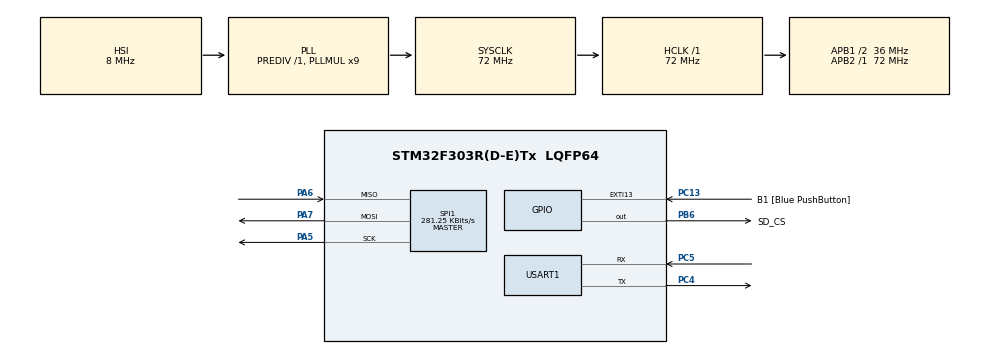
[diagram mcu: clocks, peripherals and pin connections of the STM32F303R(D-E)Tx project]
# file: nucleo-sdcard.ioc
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Mcu.Family=STM32F3
Mcu.Name=STM32F303R(D-E)Tx
Mcu.Package=LQFP64
NVIC.PriorityGroup=NVIC_PRIORITYGROUP_0
PA13.GPIO_Label=TMS
PA13.Mode=Serial_Wire
PA13.Signal=SYS_JTMS-SWDIO
PA14.GPIO_Label=TCK
PA14.Mode=Serial_Wire
PA14.Signal=SYS_JTCK-SWCLK
PA2.GPIO_Label=USART_TX
PA2.GPIO_Mode=GPIO_MODE_AF_PP
PA2.GPIO_PuPd=GPIO_NOPULL
PA2.GPIO_Speed=GPIO_SPEED_FREQ_LOW
PA2.Signal=USART2_TX
PA3.GPIO_Label=USART_RX
PA3.GPIO_Mode=GPIO_MODE_AF_PP
PA3.GPIO_PuPd=GPIO_NOPULL
PA3.GPIO_Speed=GPIO_SPEED_FREQ_LOW
PA3.Signal=USART2_RX
PA5.Mode=Full_Duplex_Master
PA5.Signal=SPI1_SCK
PA6.Mode=Full_Duplex_Master
PA6.Signal=SPI1_MISO
PA7.Mode=Full_Duplex_Master
PA7.Signal=SPI1_MOSI
PB3.GPIO_Label=SWO
PB3.Signal=SYS_JTDO-TRACESWO
PB6.GPIO_Label=SD_CS
PB6.Signal=GPIO_Output
PC13.GPIO_Label=B1 [Blue PushButton]
PC13.GPIO_ModeDefaultEXTI=GPIO_MODE_IT_FALLING
PC13.Signal=GPXTI13
PC14-OSC32_IN.Signal=RCC_OSC32_IN
PC15-OSC32_OUT.Signal=RCC_OSC32_OUT
PC4.Mode=Asynchronous
PC4.Signal=USART1_TX
PC5.Mode=Asynchronous
PC5.Signal=USART1_RX
PF0-OSC_IN.Signal=RCC_OSC_IN
PF1-OSC_OUT.Signal=RCC_OSC_OUT
ProjectManager.HeapSize=0x200
ProjectManager.StackSize=0x400
ProjectManager.TargetToolchain=Makefile
RCC.AHBFreq_Value=72000000
RCC.APB1CLKDivider=RCC_HCLK_DIV2
RCC.APB1Freq_Value=36000000
RCC.APB1TimFreq_Value=72000000
RCC.APB2Freq_Value=72000000
RCC.APB2TimFreq_Value=72000000
RCC.CortexFreq_Value=72000000
RCC.HCLKFreq_Value=72000000
RCC.HSE_VALUE=8000000
RCC.HSI_VALUE=8000000
RCC.LSE_VALUE=32768
RCC.PLLM=8
RCC.PLLMUL=RCC_PLL_MUL9
RCC.PLLN=336
RCC.PLLP=RCC_PLLP_DIV4
RCC.PLLQ=7
RCC.RCC_PLLsource_Clock_Source_FROM_HSE=RCC_HSE_PREDIV_DIV2
RCC.SYSCLKFreq_VALUE=72000000
RCC.SYSCLKSourceVirtual=RCC_SYSCLKSOURCE_PLLCLK
RCC.USBFreq_Value=72000000
SPI1.BaudRatePrescaler=SPI_BAUDRATEPRESCALER_256
SPI1.CalculateBaudRate=281.25 KBits/s
SPI1.DataSize=SPI_DATASIZE_8BIT
SPI1.Direction=SPI_DIRECTION_2LINES
SPI1.Mode=SPI_MODE_MASTER
SPI1.VirtualType=VM_MASTER
USART1.VirtualMode-Asynchronous=VM_ASYNC
USART1.WordLength=WORDLENGTH_8B
VP_FATFS_VS_Generic.Mode=User_defined
VP_RTC_VS_RTC_Activate.Mode=RTC_Enabled
board=NUCLEO-F303RE

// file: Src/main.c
/**
  ******************************************************************************
  * File Name          : main.c
  * Description        : Main program body
  ******************************************************************************
  * This notice applies to any and all portions of this file
  * that are not between comment pairs USER CODE BEGIN and
  * USER CODE END. Other portions of this file, whether
  * inserted by the user or by software development tools
  * are owned by their respective copyright owners.
  *
  * Copyright (c) 2017 STMicroelectronics International N.V.
  * All rights reserved.
  *
  * Redistribution and use in source and binary forms, with or without
  * modification, are permitted, provided that the following conditions are met:
  *
  * 1. Redistribution of source code must retain the above copyright notice,
  *    this list of conditions and the following disclaimer.
  * 2. Redistributions in binary form must reproduce the above copyright notice,
  *    this list of conditions and the following disclaimer in the documentation
  *    and/or other materials provided with the distribution.
  * 3. Neither the name of STMicroelectronics nor the names of other
  *    contributors to this software may be used to endorse or promote products
  *    derived from this software without specific written permission.
  * 4. This software, including modifications and/or derivative works of this
  *    software, must execute solely and exclusively on microcontroller or
  *    microprocessor devices manufactured by or for STMicroelectronics.
  * 5. Redistribution and use of this software other than as permitted under
  *    this license is void and will automatically terminate your rights under
  *    this license.
  *
  * THIS SOFTWARE IS PROVIDED BY STMICROELECTRONICS AND CONTRIBUTORS "AS IS"
  * AND ANY EXPRESS, IMPLIED OR STATUTORY WARRANTIES, INCLUDING, BUT NOT
  * LIMITED TO, THE IMPLIED WARRANTIES OF MERCHANTABILITY, FITNESS FOR A
  * PARTICULAR PURPOSE AND NON-INFRINGEMENT OF THIRD PARTY INTELLECTUAL PROPERTY
  * RIGHTS ARE DISCLAIMED TO THE FULLEST EXTENT PERMITTED BY LAW. IN NO EVENT
  * SHALL STMICROELECTRONICS OR CONTRIBUTORS BE LIABLE FOR ANY DIRECT, INDIRECT,
  * INCIDENTAL, SPECIAL, EXEMPLARY, OR CONSEQUENTIAL DAMAGES (INCLUDING, BUT NOT
  * LIMITED TO, PROCUREMENT OF SUBSTITUTE GOODS OR SERVICES; LOSS OF USE, DATA,
  * OR PROFITS; OR BUSINESS INTERRUPTION) HOWEVER CAUSED AND ON ANY THEORY OF
  * LIABILITY, WHETHER IN CONTRACT, STRICT LIABILITY, OR TORT (INCLUDING
  * NEGLIGENCE OR OTHERWISE) ARISING IN ANY WAY OUT OF THE USE OF THIS SOFTWARE,
  * EVEN IF ADVISED OF THE POSSIBILITY OF SUCH DAMAGE.
  *
  ******************************************************************************
  */
#include "main.h"
#include "stm32f3xx_hal.h"
#include "fatfs.h"

/* USER CODE BEGIN Includes */
#include <stdio.h>
#include <string.h>
#include <stdarg.h> //for va_list var arg functions

/* USER CODE END Includes */

RTC_HandleTypeDef hrtc;

SPI_HandleTypeDef hspi1;

UART_HandleTypeDef huart1;

/* USER CODE BEGIN PV */
/* Private variables ---------------------------------------------------------*/
char buffer[100];

/* USER CODE END PV */

void SystemClock_Config(void);
static void MX_GPIO_Init(void);
static void MX_RTC_Init(void);
static void MX_USART1_UART_Init(void);
static void MX_SPI1_Init(void);

/* USER CODE BEGIN PFP */
/* Private function prototypes -----------------------------------------------*/
void myprintf(const char *fmt, ...);
/* USER CODE END PFP */

int main(void)
{

  /* USER CODE BEGIN 1 */
  //Fatfs object
  FATFS FatFs;
  //File object
  FIL fil;
  /* USER CODE END 1 */

  /* MCU Configuration----------------------------------------------------------*/

  /* Reset of all peripherals, Initializes the Flash interface and the Systick. */
  HAL_Init();

  /* Configure the system clock */
  SystemClock_Config();

  /* Initialize all configured peripherals */
  MX_GPIO_Init();
  MX_RTC_Init();
  MX_USART1_UART_Init();
  MX_SPI1_Init();
  MX_FATFS_Init();

  /* USER CODE BEGIN 2 */
  myprintf("\r\n\r\n(Powering up)\r\nMary had a little lamb --\r\nI ate it with mint sauce.\r\n\r\n");
  HAL_Delay(1000);
  FRESULT fres;
  /* USER CODE END 2 */

  /* Infinite loop */
  while (1)
  {

  /* USER CODE BEGIN 3 */

    //Mount drive
    fres = f_mount(&FatFs, "", 1); //1=mount now
    if (fres != FR_OK) {
      myprintf("f_mount error (%i)\r\n", fres);
      while(1);
    }

    DWORD free_clusters, free_sectors, total_sectors;

    FATFS* getFreeFs;

    fres = f_getfree("", &free_clusters, &getFreeFs);
    if (fres != FR_OK) {
      myprintf("f_getfree error (%i)\r\n", fres);
      while(1);
    }

    total_sectors = (getFreeFs->n_fatent - 2) * getFreeFs->csize;
    free_sectors = free_clusters * getFreeFs->csize;

    myprintf("SD card stats:\r\n%10lu KiB total drive space.\r\n%10lu KiB available.\r\n", total_sectors / 2, free_sectors / 2);

    //Try to open file
    fres = f_open(&fil, "test.txt", FA_READ);
    if (fres != FR_OK) {
      myprintf("f_open error (%i)\r\n");
      while(1);
    }
    myprintf("I was able to open 'test.txt' for reading!\r\n");

    BYTE readBuf[30];

    //We can either use f_read OR f_gets to get data out of files
    //f_gets is a wrapper on f_read that does some string formatting for us
    TCHAR* rres = f_gets((TCHAR*)readBuf, 30, &fil);
    if(rres != 0) {
      myprintf("Read string from 'test.txt' contents: %s\r\n", readBuf);
    } else {
      myprintf("f_gets error (%i)\r\n", fres);
    }

    //Close file, don't forget this!
    f_close(&fil);

    fres = f_open(&fil, "write.txt", FA_WRITE | FA_OPEN_ALWAYS | FA_CREATE_ALWAYS);
    if(fres == FR_OK) {
      myprintf("I was able to open 'write.txt' for writing\r\n");
    } else {
      myprintf("f_open error (%i)\r\n", fres);
    }

    strncpy((char*)readBuf, "a new file is made!", 19);
    UINT bytesWrote;
    fres = f_write(&fil, readBuf, 19, &bytesWrote);
    if(fres == FR_OK) {
      myprintf("Wrote %i bytes to 'write.txt'!\r\n", bytesWrote);
    } else {
      myprintf("f_write error (%i)\r\n");
    }

    //Close file, don't forget this!
    f_close(&fil);

    //De-mount drive
    f_mount(NULL, "", 0);

    while(1);
  }
  /* USER CODE END 3 */

}

/** System Clock Configuration
*/
void SystemClock_Config(void)
{

  RCC_OscInitTypeDef RCC_OscInitStruct;
  RCC_ClkInitTypeDef RCC_ClkInitStruct;
  RCC_PeriphCLKInitTypeDef PeriphClkInit;

    /**Initializes the CPU, AHB and APB busses clocks
    */
  RCC_OscInitStruct.OscillatorType = RCC_OSCILLATORTYPE_HSI|RCC_OSCILLATORTYPE_LSI;
  RCC_OscInitStruct.HSIState = RCC_HSI_ON;
  RCC_OscInitStruct.HSICalibrationValue = 16;
  RCC_OscInitStruct.LSIState = RCC_LSI_ON;
  RCC_OscInitStruct.PLL.PLLState = RCC_PLL_ON;
  RCC_OscInitStruct.PLL.PLLSource = RCC_PLLSOURCE_HSI;
  RCC_OscInitStruct.PLL.PLLMUL = RCC_PLL_MUL9;
  RCC_OscInitStruct.PLL.PREDIV = RCC_PREDIV_DIV1;
  if (HAL_RCC_OscConfig(&RCC_OscInitStruct) != HAL_OK)
  {
    _Error_Handler(__FILE__, __LINE__);
  }

    /**Initializes the CPU, AHB and APB busses clocks
    */
  RCC_ClkInitStruct.ClockType = RCC_CLOCKTYPE_HCLK|RCC_CLOCKTYPE_SYSCLK
                              |RCC_CLOCKTYPE_PCLK1|RCC_CLOCKTYPE_PCLK2;
  RCC_ClkInitStruct.SYSCLKSource = RCC_SYSCLKSOURCE_PLLCLK;
  RCC_ClkInitStruct.AHBCLKDivider = RCC_SYSCLK_DIV1;
  RCC_ClkInitStruct.APB1CLKDivider = RCC_HCLK_DIV2;
  RCC_ClkInitStruct.APB2CLKDivider = RCC_HCLK_DIV1;

  if (HAL_RCC_ClockConfig(&RCC_ClkInitStruct, FLASH_LATENCY_2) != HAL_OK)
  {
    _Error_Handler(__FILE__, __LINE__);
  }

  PeriphClkInit.PeriphClockSelection = RCC_PERIPHCLK_USART1|RCC_PERIPHCLK_RTC;
  PeriphClkInit.Usart1ClockSelection = RCC_USART1CLKSOURCE_PCLK2;
  PeriphClkInit.RTCClockSelection = RCC_RTCCLKSOURCE_LSI;
  if (HAL_RCCEx_PeriphCLKConfig(&PeriphClkInit) != HAL_OK)
  {
    _Error_Handler(__FILE__, __LINE__);
  }

    /**Configure the Systick interrupt time
    */
  HAL_SYSTICK_Config(HAL_RCC_GetHCLKFreq()/1000);

    /**Configure the Systick
    */
  HAL_SYSTICK_CLKSourceConfig(SYSTICK_CLKSOURCE_HCLK);

  /* SysTick_IRQn interrupt configuration */
  HAL_NVIC_SetPriority(SysTick_IRQn, 0, 0);
}

/* RTC init function */
static void MX_RTC_Init(void)
{

    /**Initialize RTC Only
    */
  hrtc.Instance = RTC;
  hrtc.Init.HourFormat = RTC_HOURFORMAT_24;
  hrtc.Init.AsynchPrediv = 127;
  hrtc.Init.SynchPrediv = 255;
  hrtc.Init.OutPut = RTC_OUTPUT_DISABLE;
  hrtc.Init.OutPutPolarity = RTC_OUTPUT_POLARITY_HIGH;
  hrtc.Init.OutPutType = RTC_OUTPUT_TYPE_OPENDRAIN;
  if (HAL_RTC_Init(&hrtc) != HAL_OK)
  {
    _Error_Handler(__FILE__, __LINE__);
  }

}

/* SPI1 init function */
static void MX_SPI1_Init(void)
{

  hspi1.Instance = SPI1;
  hspi1.Init.Mode = SPI_MODE_MASTER;
  hspi1.Init.Direction = SPI_DIRECTION_2LINES;
  hspi1.Init.DataSize = SPI_DATASIZE_8BIT;
  hspi1.Init.CLKPolarity = SPI_POLARITY_LOW;
  hspi1.Init.CLKPhase = SPI_PHASE_1EDGE;
  hspi1.Init.NSS = SPI_NSS_SOFT;
  hspi1.Init.BaudRatePrescaler = SPI_BAUDRATEPRESCALER_256;
  hspi1.Init.FirstBit = SPI_FIRSTBIT_MSB;
  hspi1.Init.TIMode = SPI_TIMODE_DISABLE;
  hspi1.Init.CRCCalculation = SPI_CRCCALCULATION_DISABLE;
  hspi1.Init.CRCPolynomial = 7;
  hspi1.Init.CRCLength = SPI_CRC_LENGTH_DATASIZE;
  hspi1.Init.NSSPMode = SPI_NSS_PULSE_ENABLE;
  if (HAL_SPI_Init(&hspi1) != HAL_OK)
  {
    _Error_Handler(__FILE__, __LINE__);
  }

}

/* USART1 init function */
static void MX_USART1_UART_Init(void)
{

  huart1.Instance = USART1;
  huart1.Init.BaudRate = 38400;
  huart1.Init.WordLength = UART_WORDLENGTH_8B;
  huart1.Init.StopBits = UART_STOPBITS_1;
  huart1.Init.Parity = UART_PARITY_NONE;
  huart1.Init.Mode = UART_MODE_TX_RX;
  huart1.Init.HwFlowCtl = UART_HWCONTROL_NONE;
  huart1.Init.OverSampling = UART_OVERSAMPLING_16;
  huart1.Init.OneBitSampling = UART_ONE_BIT_SAMPLE_DISABLE;
  huart1.AdvancedInit.AdvFeatureInit = UART_ADVFEATURE_NO_INIT;
  if (HAL_UART_Init(&huart1) != HAL_OK)
  {
    _Error_Handler(__FILE__, __LINE__);
  }

}

/** Configure pins as
        * Analog
        * Input
        * Output
        * EVENT_OUT
        * EXTI
     PA2   ------> USART2_TX
     PA3   ------> USART2_RX
*/
static void MX_GPIO_Init(void)
{

  GPIO_InitTypeDef GPIO_InitStruct;

  /* GPIO Ports Clock Enable */
  __HAL_RCC_GPIOC_CLK_ENABLE();
  __HAL_RCC_GPIOF_CLK_ENABLE();
  __HAL_RCC_GPIOA_CLK_ENABLE();
  __HAL_RCC_GPIOB_CLK_ENABLE();

  /*Configure GPIO pin Output Level */
  HAL_GPIO_WritePin(SD_CS_GPIO_Port, SD_CS_Pin, GPIO_PIN_RESET);

  /*Configure GPIO pin : B1_Pin */
  GPIO_InitStruct.Pin = B1_Pin;
  GPIO_InitStruct.Mode = GPIO_MODE_IT_FALLING;
  GPIO_InitStruct.Pull = GPIO_NOPULL;
  HAL_GPIO_Init(B1_GPIO_Port, &GPIO_InitStruct);

  /*Configure GPIO pins : USART_TX_Pin USART_RX_Pin */
  GPIO_InitStruct.Pin = USART_TX_Pin|USART_RX_Pin;
  GPIO_InitStruct.Mode = GPIO_MODE_AF_PP;
  GPIO_InitStruct.Pull = GPIO_NOPULL;
  GPIO_InitStruct.Speed = GPIO_SPEED_FREQ_LOW;
  GPIO_InitStruct.Alternate = GPIO_AF7_USART2;
  HAL_GPIO_Init(GPIOA, &GPIO_InitStruct);

  /*Configure GPIO pin : SD_CS_Pin */
  GPIO_InitStruct.Pin = SD_CS_Pin;
  GPIO_InitStruct.Mode = GPIO_MODE_OUTPUT_PP;
  GPIO_InitStruct.Pull = GPIO_NOPULL;
  GPIO_InitStruct.Speed = GPIO_SPEED_FREQ_LOW;
  HAL_GPIO_Init(SD_CS_GPIO_Port, &GPIO_InitStruct);

}

/* USER CODE BEGIN 4 */
void myprintf(const char *fmt, ...) {
  va_list args;
  va_start(args, fmt);
  vsnprintf(buffer, sizeof(buffer), fmt, args);
  va_end(args);

  int len = strlen(buffer);
  HAL_UART_Transmit(&huart1, (uint8_t*)buffer, len, 1000);

}
/* USER CODE END 4 */

void _Error_Handler(char * file, int line)
{
  while(1)
  {
  }
}

/************************ (C) COPYRIGHT STMicroelectronics *****END OF FILE****/
